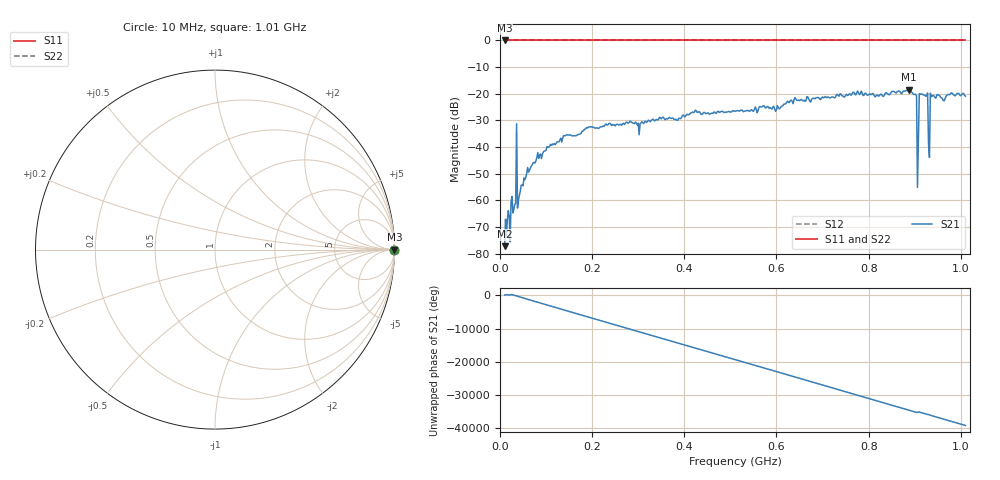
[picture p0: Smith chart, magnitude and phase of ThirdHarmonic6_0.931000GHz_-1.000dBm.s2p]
! 8/16/2025 6:21:20 AM
! C:\ANRITSUVNA\TEMP\TEMP.S2P
! CHANNEL.1
! TR.MEASUREMENT
! RAW.DATA
! RF.CORRECTION.OFF
! AVERAGING.OFF
! IF.BANDWIDTH: 5KHZ
! SWEEPTYPE:  FREQ.SWEEP(Linear)
! Reference Plane Port Info
! PORT:  PORT1  PORT2
! DISTANCE:  0  m  0  m
! TIME:  0  s  0  s
! PHASE.OFFSET:  0  deg.  0  deg.
! LOSS:  0  dB  0  dB
! REF.LOSS:  0  dB  0  dB
! REF.FREQ:  0  Hz  0  Hz
! Power Info
! POWER:  -20  dBm  -20  dBm
! EFF.POWER:  -20  dBm  -20  dBm
! SOURCE.ATTEN:  0  dB  0  dB
! TEST.ATTEN:  0  dB  0  dB
# GHZ S RI R 50.0
! FREQ.GHZ  S11RE  S11IM  S21RE  S21IM  S12RE  S12IM  S22RE  S22IM
!; PortSelection: Port_12
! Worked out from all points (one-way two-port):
!   501 points, 10 MHz to 1.01 GHz, reference 50 ohm
!   highest |S21| = -18.53 dB at 888 MHz (marker M1); lowest = -77.2 dB at 10 MHz (marker M2)
!   lowest |S11| = 0.0 dB at 10 MHz (marker M3)
!   |S11| at or under -10 dB: nowhere
!   |S22| runs from 0.0 to 0.0 dB; largest |S21 - S12| = 1.1
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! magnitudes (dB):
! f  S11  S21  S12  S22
! 10 MHz  0.0  -77.2  0.0  0.0
! 16 MHz  0.0  -67.1  0.0  0.0
! 30 MHz  0.0  -63.5  0.0  0.0
! 32 MHz  0.0  -61.4  0.0  0.0
! 40 MHz  0.0  -59.8  0.0  0.0
! 42 MHz  0.0  -58.1  0.0  0.0
! 78 MHz  0.0  -45.1  0.0  0.0
! 178 MHz  0.0  -34.1  0.0  0.0
! 344 MHz  0.0  -29.6  0.0  0.0
! 510 MHz  0.0  -26.6  0.0  0.0
! 678 MHz  0.0  -21.8  0.0  0.0
! 844 MHz  0.0  -20.4  0.0  0.0
! 888 MHz  0.0  -18.5  0.0  0.0
! 900 MHz  0.0  -20.2  0.0  0.0
! 904 MHz  0.0  -20.9  0.0  0.0
! 910 MHz  0.0  -20.0  0.0  0.0
! 914 MHz  0.0  -20.0  0.0  0.0
! 924 MHz  0.0  -21.0  0.0  0.0
! 928 MHz  0.0  -19.7  0.0  0.0
! 934 MHz  0.0  -19.8  0.0  0.0
! 938 MHz  0.0  -20.9  0.0  0.0
! 1.01 GHz  0.0  -20.9  0.0  0.0
